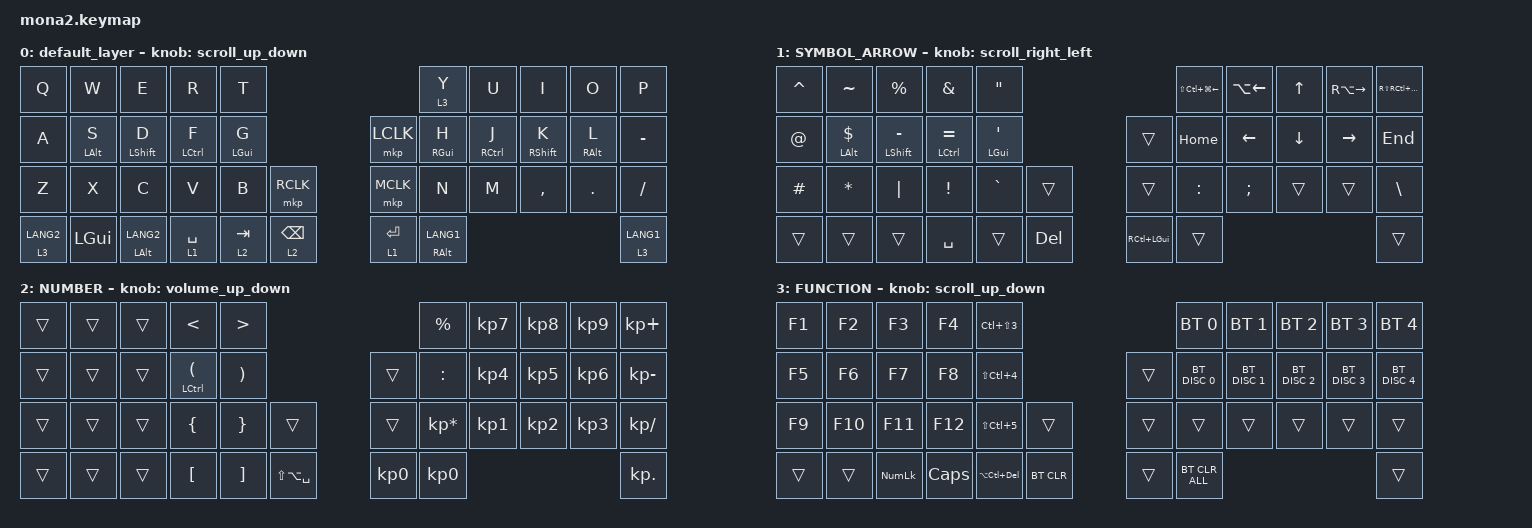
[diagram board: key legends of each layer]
#include <input/processors.dtsi>
#include <dt-bindings/zmk/input_transform.h>
#include <zephyr/dt-bindings/input/input-event-codes.h>
#include <behaviors.dtsi>
#include <dt-bindings/zmk/bt.h>
#include <dt-bindings/zmk/keys.h>
#include <dt-bindings/zmk/pointing.h>

#define ZMK_POINTING_DEFAULT_SCRL_VAL 100

&mt {
    quick-tap-ms = <0>;
    require-prior-idle-ms = <125>;
    flavor = "tap-preferred";
};

&lt {
    quick-tap-ms = <200>;
    require-prior-idle-ms = <125>;
    flavor = "balanced";
};

/ {
    behaviors {
        hmr_l: hmr_l {
            compatible = "zmk,behavior-hold-tap";
            label = "HMR_L";
            bindings = <&kp>, <&kp>;

            #binding-cells = <2>;
            tapping-term-ms = <400>;
            flavor = "balanced";
            hold-trigger-key-positions = <5 6 7 8 9 15 16 17 18 19 20 27 28 29 30 31 32 39 40 41>;
            hold-trigger-on-release;
            require-prior-idle-ms = <150>;
            hold-while-undecided;
        };

        hmr_r: hmr_r {
            compatible = "zmk,behavior-hold-tap";
            label = "HMR_R";
            bindings = <&kp>, <&kp>;

            #binding-cells = <2>;
            tapping-term-ms = <400>;
            flavor = "balanced";
            hold-trigger-key-positions = <0 1 2 3 4 10 11 12 13 14 21 22 23 24 25 26 33 34 35 36 37 38>;
            hold-trigger-on-release;
            require-prior-idle-ms = <150>;
            hold-while-undecided;
        };

        hmr_l2: hmr_l2 {
            compatible = "zmk,behavior-hold-tap";
            label = "HMR_L2";
            bindings = <&kp>, <&kp>;

            #binding-cells = <2>;
            tapping-term-ms = <400>;
            flavor = "balanced";
            hold-trigger-key-positions = <5 6 7 8 9 15 16 17 18 19 20 27 28 29 30 31 32 39 40 41>;
            hold-trigger-on-release;
            require-prior-idle-ms = <150>;
        };

        hmr_r2: hmr_r2 {
            compatible = "zmk,behavior-hold-tap";
            label = "HMR_R2";
            bindings = <&kp>, <&kp>;

            #binding-cells = <2>;
            tapping-term-ms = <400>;
            flavor = "balanced";
            hold-trigger-key-positions = <0 1 2 3 4 10 11 12 13 14 21 22 23 24 25 26 33 34 35 36 37 38>;
            hold-trigger-on-release;
            require-prior-idle-ms = <150>;
        };

        lt_scroll: lt_scroll {
            compatible = "zmk,behavior-hold-tap";
            label = "LT_SCROLL";
            bindings = <&mo>, <&kp>;

            #binding-cells = <2>;
            tapping-term-ms = <200>;
            flavor = "balanced";
            require-prior-idle-ms = <125>;
            hold-while-undecided;
        };

        scroll_up_down: mouse_wheel_up_down {
            compatible = "zmk,behavior-sensor-rotate";
            #sensor-binding-cells = <0>;
            bindings = <&msc SCRL_UP>, <&msc SCRL_DOWN>;

            tap-ms = <20>;
        };

        scroll_right_left: mouse_wheel_right_left {
            compatible = "zmk,behavior-sensor-rotate";
            #sensor-binding-cells = <0>;
            bindings = <&msc SCRL_LEFT>, <&msc SCRL_RIGHT>;

            tap-ms = <20>;
        };
    };

    combos {
        compatible = "zmk,combos";

        combo_esc {
            timeout-ms = <50>;
            key-positions = <0 1>;
            bindings = <&kp ESC>;
        };

        combo_colon {
            bindings = <&kp COLON>;
            key-positions = <14 25>;
        };

        combo_semicolon {
            bindings = <&kp SEMICOLON>;
            key-positions = <16 28>;
        };

        combo_comma {
            bindings = <&kp COMMA>;
            key-positions = <4 14>;
        };

        combo_period {
            bindings = <&kp PERIOD>;
            key-positions = <5 16>;
        };

        combo_shift_L {
            bindings = <&kp LEFT_SHIFT>;
            key-positions = <37 38>;
        };

        combo_shift_R {
            bindings = <&kp RIGHT_SHIFT>;
            key-positions = <39 40>;
        };

        to_0 {
            bindings = <&to 0>;
            key-positions = <6 7 8>;
        };
    };

    keymap {
        compatible = "zmk,keymap";

        default_layer {
            bindings = <
&kp Q        &kp W               &kp E                &kp R                  &kp T                                                                &lt_scroll 3 Y       &kp U                   &kp I                 &kp O                &kp P
&kp A        &hmr_l2 LEFT_ALT S  &hmr_l LEFT_SHIFT D  &hmr_l LEFT_CONTROL F  &hmr_l2 LEFT_GUI G                 &mkp LCLK                         &hmr_r2 RIGHT_GUI H  &hmr_r RIGHT_CONTROL J  &hmr_r RIGHT_SHIFT K  &hmr_r2 RIGHT_ALT L  &kp MINUS
&kp Z        &kp X               &kp C                &kp V                  &kp B              &mkp RCLK        &mkp MCLK                         &kp N                &kp M                   &kp COMMA             &kp PERIOD           &kp SLASH
&lt 3 LANG2  &kp LEFT_GUI        &mt LEFT_ALT LANG2   &lt 1 SPACE            &lt 2 TAB          &lt 2 BACKSPACE  &lt 1 ENTER                       &mt RIGHT_ALT LANG1                                                                    &lt 3 LANG1
            >;

            sensor-bindings = <&scroll_up_down>;
        };

        SYMBOL_ARROW {
            label = "SYMBOL_ARROW";
            bindings = <
&kp CARET    &kp TILDE                &kp PERCENT              &kp AMPERSAND              &kp DOUBLE_QUOTES                                                  &kp LS(LC(LG(LEFT)))  &kp LA(LEFT)      &kp UP    &kp RA(RIGHT)  &kp RS(RC(RG(RIGHT)))
&kp AT_SIGN  &hmr_l2 LEFT_ALT DOLLAR  &hmr_l LEFT_SHIFT MINUS  &hmr_l LEFT_CONTROL EQUAL  &hmr_l2 LEFT_GUI SINGLE_QUOTE  &trans                              &kp HOME              &kp LEFT          &kp DOWN  &kp RIGHT      &kp END
&kp HASH     &kp ASTERISK             &kp PIPE                 &kp EXCLAMATION            &kp GRAVE                      &trans          &trans              &kp COLON             &kp SEMICOLON     &trans    &trans         &kp BACKSLASH
&trans       &trans                   &trans                   &kp SPACE                  &trans                         &kp DELETE      &kp RC(LEFT_GUI)    &trans                                                            &trans
            >;

            sensor-bindings = <&scroll_right_left>;
        };

        NUMBER {
            label = "NUMBER";
            bindings = <
&trans  &trans  &trans  &kp LESS_THAN                         &kp GREATER_THAN                                                         &kp PERCENT      &kp KP_N7  &kp KP_N8  &kp KP_N9   &kp KP_PLUS
&trans  &trans  &trans  &hmr_l LEFT_CONTROL LEFT_PARENTHESIS  &kp RIGHT_PARENTHESIS  &trans                                            &kp COLON        &kp KP_N4  &kp KP_N5  &kp KP_N6   &kp KP_MINUS
&trans  &trans  &trans  &kp LEFT_BRACE                        &kp RIGHT_BRACE        &trans                          &trans            &kp KP_MULTIPLY  &kp KP_N1  &kp KP_N2  &kp KP_N3   &kp KP_SLASH
&trans  &trans  &trans  &kp LEFT_BRACKET                      &kp RIGHT_BRACKET      &kp LS(LA(SPACE))               &kp KP_N0         &kp KP_N0                                          &kp KP_DOT
            >;

            sensor-bindings = <&volume_up_down>;
        };

        FUNCTION {
            label = "FUNCTION";
            bindings = <
&kp F1  &kp F2   &kp F3          &kp F4        &kp LC(LS(NUMBER_3))                                            &bt BT_SEL 0   &bt BT_SEL 1   &bt BT_SEL 2    &bt BT_SEL 3   &bt BT_SEL 4
&kp F5  &kp F6   &kp F7          &kp F8        &kp LS(LC(NUMBER_4))  &trans                                    &bt BT_DISC 0  &bt BT_DISC 1  &bt BT_DISC 2   &bt BT_DISC 3  &bt BT_DISC 4
&kp F9  &kp F10  &kp F11         &kp F12       &kp LS(LC(N5))        &trans                    &trans          &trans         &trans         &trans          &trans         &trans
&trans  &trans   &kp KP_NUMLOCK  &kp CAPSLOCK  &kp LA(LC(DELETE))    &bt BT_CLR                &trans          &bt BT_CLR_ALL                                               &trans
            >;

            sensor-bindings = <&scroll_up_down>;
        };

    };
};
